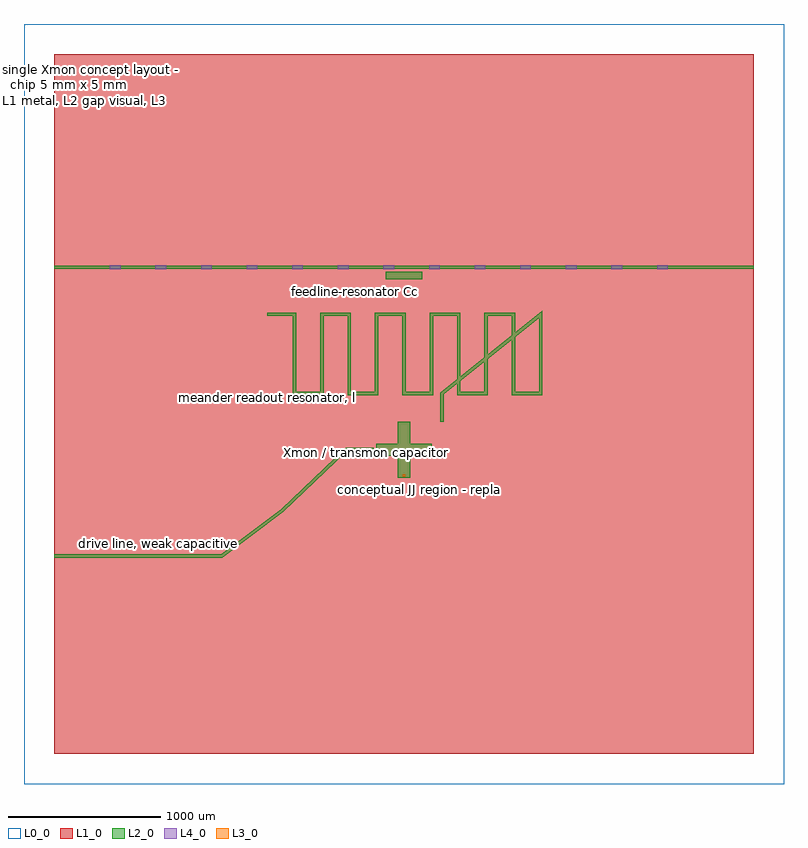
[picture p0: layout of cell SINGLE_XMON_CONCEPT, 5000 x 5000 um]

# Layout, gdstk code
import gdstk
lib = gdstk.Library(unit=1e-6, precision=1e-09)
def R(c, l, rs):  # rectangles x0, y0, x1, y1
    for r in rs: c.add(gdstk.rectangle(r[:2], r[2:], *l))
def A(c, l, x, y, w, h, nx, ny, dx, dy):  # array of equal rectangles
    R(c, l, [(x+i*dx, y+j*dy, x+i*dx+w, y+j*dy+h) for i in range(nx) for j in range(ny)])
L0_0 = (0, 0)
L1_0 = (1, 0)
L2_0 = (2, 0)
L3_0 = (3, 0)
L4_0 = (4, 0)

single_xmon_concept = lib.new_cell('SINGLE_XMON_CONCEPT')
R(single_xmon_concept, L0_0, [(-2500,-2500,2500,2500)])
A(single_xmon_concept, L1_0, -1860, -2300, 120, 120, 3, 2, 600, 4480)
A(single_xmon_concept, L1_0, 540, -2300, 120, 120, 3, 2, 600, 4480)
A(single_xmon_concept, L1_0, -2300, -1860, 120, 120, 1, 7, 0, 600)
A(single_xmon_concept, L1_0, 2180, -1860, 120, 120, 1, 7, 0, 600)
R(single_xmon_concept, L1_0, [(-2300,-2300,2300,2300), (-2300,-1090,-2120,-910), (-2,-520,2,-460), (-16,-460,16,-140), (-160,-316,160,-284), (-2300,810,-2120,990), (2120,810,2300,990)])
R(single_xmon_concept, L2_0, [(-40,-484,40,-116), (-184,-340,184,-260), (-120,820,120,870)])
R(single_xmon_concept, L3_0, [(-8,-478,8,-462)])
A(single_xmon_concept, L4_0, -1935, 886, 70, 28, 13, 1, 300, 0)
single_xmon_concept.add(gdstk.FlexPath([(-2300,900),(2300,900)], 10, ends="flush", simple_path=True, layer=1, datatype=0))  # L1_0
single_xmon_concept.add(gdstk.FlexPath([(-900,590),(-720,590),(-720,70),(-540,70),(-540,590),(-360,590),(-360,70),(-180,70),(-180,590),(0,590),(0,70),(180,70),(180,590),(360,590),(360,70),(540,70),(540,590),(720,590),(720,70),(900,70),(900,590),(250,70),(250,-116)], 10, ends="flush", simple_path=True, layer=1, datatype=0))  # L1_0
single_xmon_concept.add(gdstk.FlexPath([(-2300,-1000),(-1200,-1000),(-800,-700),(-380,-300),(-200,-300)], 10, ends="flush", simple_path=True, layer=1, datatype=0))  # L1_0
single_xmon_concept.add(gdstk.FlexPath([(-2300,900),(2300,900)], 22, ends="flush", simple_path=True, layer=2, datatype=0))  # L2_0
single_xmon_concept.add(gdstk.FlexPath([(-900,590),(-720,590),(-720,70),(-540,70),(-540,590),(-360,590),(-360,70),(-180,70),(-180,590),(0,590),(0,70),(180,70),(180,590),(360,590),(360,70),(540,70),(540,590),(720,590),(720,70),(900,70),(900,590),(250,70),(250,-116)], 22, ends="flush", simple_path=True, layer=2, datatype=0))  # L2_0
single_xmon_concept.add(gdstk.FlexPath([(-2300,-1000),(-1200,-1000),(-800,-700),(-380,-300),(-200,-300)], 22, ends="flush", simple_path=True, layer=2, datatype=0))  # L2_0
single_xmon_concept.add(gdstk.Label('meander readout resonator, length requires EM tuning', (-900,40), layer=10, texttype=0))
single_xmon_concept.add(gdstk.Label('feedline-resonator Cc', (-320,740), layer=10, texttype=0))
single_xmon_concept.add(gdstk.Label('conceptual JJ region - replace with process-specific cell', (100,-560), layer=10, texttype=0))
single_xmon_concept.add(gdstk.Label('Xmon / transmon capacitor', (-250,-320), layer=10, texttype=0))
single_xmon_concept.add(gdstk.Label('drive line, weak capacitive coupling', (-1600,-920), layer=10, texttype=0))
single_xmon_concept.add(gdstk.Label('single Xmon concept layout - not fabrication ready', (-2200,2200), layer=10, texttype=0))
single_xmon_concept.add(gdstk.Label('chip 5 mm x 5 mm', (-2200,2100), layer=10, texttype=0))
single_xmon_concept.add(gdstk.Label('L1 metal, L2 gap visual, L3 JJ marker, L4 airbridge marker', (-2200,2000), layer=10, texttype=0))

lib.write_gds('SINGLE_XMON_CONCEPT.gds')
